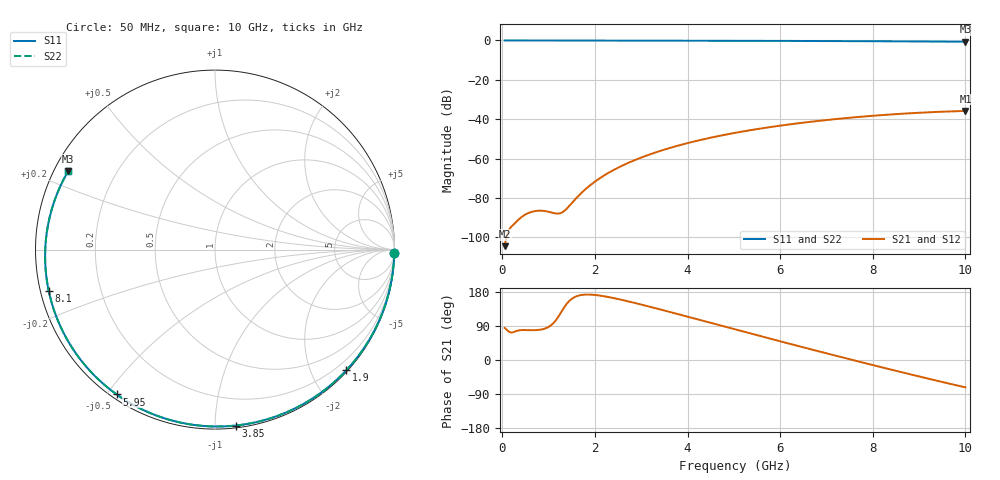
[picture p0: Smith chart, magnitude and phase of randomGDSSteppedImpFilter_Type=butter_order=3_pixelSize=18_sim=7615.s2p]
! freq	dB(S11)	phase(S11)	dB(S12)	phase(S12)
!  dB(S21)	phase(S21)	dB(S22)	phase(S22)
!S-par simulation data
#  GHz  S  DB  R 50
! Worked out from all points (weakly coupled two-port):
!   200 points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, 50 MHz to 10 GHz, reference 50 ohm
!   highest |S21| = -35.79 dB at 10 GHz (marker M1); lowest = -104.4 dB at 50 MHz (marker M2)
!   lowest |S11| = -0.7 dB at 10 GHz (marker M3), VSWR 26.57, Z = 2 + j12.6 ohm
!   |S11| at or under -10 dB: nowhere
!   |S22| runs from -0.7 to 0.0 dB; largest |S21 - S12| = 0
!   S11 on the Smith chart (normalised r, x): 50 MHz: open; 1.9 GHz: 0.02, -2.57; 3.85 GHz: 0.01, -1.12; 5.95 GHz: 0.02, -0.53; 8.1 GHz: 0.02, -0.12; 10 GHz: 0.04, +0.25
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0.05  -0.00 -1.1  -104.44 84.8  -104.44 84.8  -0.00 -1.1
0.45  -0.02 -10.2  -89.08 79.1  -89.08 79.1  -0.02 -10.2
0.8  -0.02 -18.1  -86.43 79.6  -86.43 79.6  -0.02 -18.1
1.6  -0.05 -35.9  -80.01 168.1  -80.01 168.1  -0.05 -36.0
1.75  -0.05 -39.2  -76.49 172.2  -76.49 172.2  -0.05 -39.2
1.9  -0.05 -42.5  -73.47 172.5  -73.47 172.5  -0.05 -42.5
2.2  -0.06 -49.0  -68.53 168.2  -68.53 168.2  -0.06 -49.0
2.55  -0.07 -56.5  -64.02 159.6  -64.02 159.6  -0.07 -56.5
2.95  -0.08 -64.9  -59.91 147.9  -59.91 147.9  -0.08 -64.9
3.4  -0.10 -74.2  -56.15 133.8  -56.15 133.8  -0.10 -74.2
3.85  -0.11 -83.3  -53.04 119.2  -53.04 119.2  -0.11 -83.3
4.45  -0.14 -95.2  -49.62 99.6  -49.62 99.6  -0.14 -95.2
5.05  -0.17 -106.9  -46.81 80.0  -46.81 80.0  -0.17 -106.9
5.95  -0.22 -124.2  -43.42 50.9  -43.42 50.9  -0.22 -124.2
6.7  -0.27 -138.5  -41.18 27.1  -41.18 27.1  -0.27 -138.5
7.4  -0.33 -152.1  -39.46 5.2  -39.46 5.2  -0.33 -152.1
8.1  -0.40 -166.1  -38.06 -16.4  -38.06 -16.4  -0.40 -166.0
8.35  -0.43 -171.2  -37.63 -24.0  -37.63 -24.0  -0.43 -171.2
8.8  -0.49 179.3  -36.97 -37.5  -36.97 -37.5  -0.49 179.3
9.2  -0.54 170.5  -36.48 -49.3  -36.48 -49.3  -0.54 170.6
9.6  -0.60 161.4  -36.09 -60.9  -36.09 -60.9  -0.60 161.4
10  -0.65 151.8  -35.79 -72.1  -35.79 -72.1  -0.65 151.8
